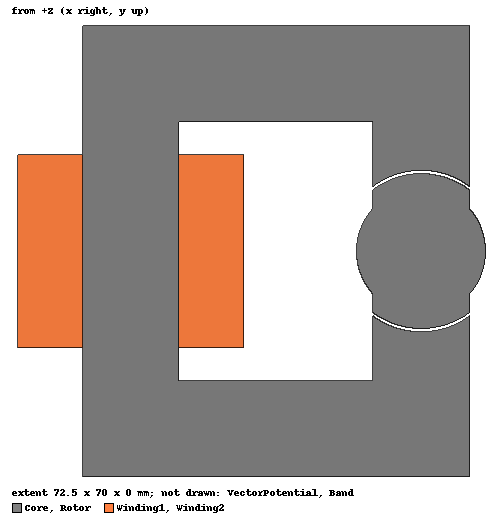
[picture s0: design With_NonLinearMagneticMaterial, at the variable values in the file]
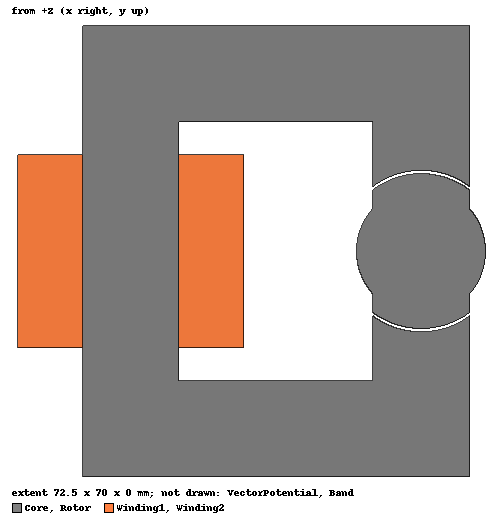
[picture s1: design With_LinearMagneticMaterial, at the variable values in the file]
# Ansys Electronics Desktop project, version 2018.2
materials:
  vacuum: permittivity=1
  copper: permeability=0.999991 conductivity=58000000
  iron: permeability=4000 conductivity=10300000
  steel_1010: permittivity=1 permeability{BType=normal HUnit=A_per_meter BUnit=tesla curve (0, 0) (238.7, 0.2003) (318.3, 0.3204) (358.1, 0.40045) (437.7, 0.50055) (477.5, 0.5606) (636.6, 0.7908) (795.8, 0.931) (1114.1, 1.1014) (1273.2, 1.2016) (1591.5, 1.302) (2228.2, 1.4028) (3183.1, 1.524) (4774.6, 1.626) (6366.2, 1.698) (7957.7, 1.73) (15915.5, 1.87) (31831, 1.99) (47746.5, 2.04) (63662, 2.07) (79577.5, 2.095) (159155, 2.2) (318310, 2.4)} conductivity=2000000 lande_g_factor=2
  steel_1010_linear: permittivity=1 permeability=910 conductivity=2000000 lande_g_factor=2

design With_NonLinearMagneticMaterial (Maxwell 2D, Transient, XY geometry, model units mm)
options: ComputeTransientInductance ModelDepth=20mm Multiplier=1
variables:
  Current = 3A
  NumberOfTurns = 250
  Teta = 0deg
  angle = 0deg
  angel = 90deg
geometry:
  Core [steel_1010] = rectangle(corner=(0mm, 0mm, 0mm), x_size=60mm, y_size=70mm)
  Rectangle2 = rectangle(corner=(15mm, 15mm, 0mm), x_size=30mm, y_size=40mm)
  Core.subtract(Rectangle2)
  Circle1 = circle(normal=Z, centre=(52.5mm, 35mm, 0mm), radius=12.5mm)
  Core.subtract(Circle1)
  Rotor [steel_1010] = circle(normal=Z, centre=(52.5mm, 35mm, 0mm), radius=10mm)
  Polyline6 = polyline(z=0mm, xy in mm: (45, 44.5) (52.5, 47) (60, 44.5) (60, 25.5) (52.5, 23) (45, 25.5) (45, 44.5), closed, covered, Arc from point 0 over 3, Arc from point 3 over 3)
  Rotor.unite(Polyline6)
  Winding1 [copper] = rectangle(corner=(15mm, 20mm, 0mm), x_size=10mm, y_size=30mm)
  Winding2 [copper] = rectangle(corner=(-10mm, 20mm, 0mm), x_size=10mm, y_size=30mm)
  VectorPotential [vacuum] = circle(normal=Z, centre=(30mm, 35mm, 0mm), radius=100mm)
  coordinate_system RelativeCS1 = origin=(52.5mm, 35mm, 0mm) x=(1mm, 0mm, 0mm) y=(0mm, 1mm, 0mm)
  Band [vacuum] = circle(normal=Z, centre=(0mm, 0mm, 0mm), radius=12.45mm) in RelativeCS1
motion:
  MotionSetup1: Band Move_Type=Rotate Coordinate_System=RelativeCS1 Axis=Z Is_Positive=true InitPos=0deg Angular_Velocity=60rpm Objects=Band
  Moving1: Moving Objects=Rotor
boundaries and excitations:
  VectorPotential1: Vector Potential Edges=VectorPotential.edge(1 of 1) Value=0
  Rectangle3: Coil Objects=Winding1 Conductor_number=NumberOfTurns Winding=Winding1 PolarityType=Positive
  Rectangle4: Coil Objects=Winding2 Conductor_number=NumberOfTurns Winding=Winding1 PolarityType=Negative
  Winding1: Winding Group Type=Current IsSolid=false Current=Current ParallelBranchesNum=1
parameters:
  Torque1: Torque Coordinate_System=Global Is_Positive=true Objects=Rotor
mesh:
  Length2: LengthBased RefineInside Objects=[Core, Rotor, Winding2, Winding1, Band] MaxLength=2mm
  initial mesh: MeshMethod=AnsoftTAU
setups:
  Setup: Transient NonlinearSolverResidual=1e-07 StopTime=980ms TimeStep=2ms SweepSetupType=LinearStep StartValue=0ns StopValue=980ms StepSize=0.002s InitialTimeStep=0.002s MinTimeStep=0.001s MaxTimeStep=0.003s TimeStepErrTolerance=0.0001
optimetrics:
  ParametricSetup1: Parametric
    sweep Teta: LIN 0deg 360deg 10deg
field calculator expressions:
  ener = energy | EnterVolume(AllObjects) | VolumeValue | Integrate
  Energy(J) = energy | EnterVolume(AllObjects) | VolumeValue | Integrate
  Eenergy = Energy(J) | 50 | /
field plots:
  B_Vector1: B over Winding1, Winding2, Core, Rotor, Band, VectorPotential on Setup : Transient at Time=0.25s
  Flux_Lines1: A over Winding1, Winding2, Rotor, Core on Setup : Transient at Time=-1
  Mag_B1: B over Rotor, Winding1, Winding2, Core on Setup : Transient at Time=-1
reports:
  Calculator Expressions Plot 1: Eenergy vs Time on Setup : Transient [Teta=all]; markers m1 at 0ms, m2 at 124ms, m3 at 250ms
  Torque Plot 1: Moving1.LoadTorque vs Moving1.Position on Setup : Transient [Teta=all]
  Torque Plot 2: Torque1.Torque vs Moving1.Position on Setup : Transient [Teta=all]; markers m1 at 0ns, m2 at 250000000ns, m3 at 126000000ns
  Winding Plot 1: L(Winding1,Winding1) vs Moving1.Position on Setup : Transient [Teta=all]; markers m1 at 0ns, m2 at 126000000ns, m3 at 250000000ns

design With_LinearMagneticMaterial (Maxwell 2D, Transient, XY geometry, model units mm)
options: ComputeTransientInductance ModelDepth=20mm Multiplier=1
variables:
  Current = 3A
  NumberOfTurns = 250
  Teta = 0deg
  angle = 0deg
  angel = 90deg
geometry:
  Core [iron] = rectangle(corner=(0mm, 0mm, 0mm), x_size=60mm, y_size=70mm)
  Rectangle2 = rectangle(corner=(15mm, 15mm, 0mm), x_size=30mm, y_size=40mm)
  Core.subtract(Rectangle2)
  Circle1 = circle(normal=Z, centre=(52.5mm, 35mm, 0mm), radius=12.5mm)
  Core.subtract(Circle1)
  Rotor [iron] = circle(normal=Z, centre=(52.5mm, 35mm, 0mm), radius=10mm)
  Polyline6 = polyline(z=0mm, xy in mm: (45, 44.5) (52.5, 47) (60, 44.5) (60, 25.5) (52.5, 23) (45, 25.5) (45, 44.5), closed, covered, Arc from point 0 over 3, Arc from point 3 over 3)
  Rotor.unite(Polyline6)
  Winding1 [copper] = rectangle(corner=(15mm, 20mm, 0mm), x_size=10mm, y_size=30mm)
  Winding2 [copper] = rectangle(corner=(-10mm, 20mm, 0mm), x_size=10mm, y_size=30mm)
  VectorPotential [vacuum] = circle(normal=Z, centre=(30mm, 35mm, 0mm), radius=100mm)
  coordinate_system RelativeCS1 = origin=(52.5mm, 35mm, 0mm) x=(1mm, 0mm, 0mm) y=(0mm, 1mm, 0mm)
  Band [vacuum] = circle(normal=Z, centre=(0mm, 0mm, 0mm), radius=12.45mm) in RelativeCS1
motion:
  MotionSetup1: Band Move_Type=Rotate Coordinate_System=RelativeCS1 Axis=Z Is_Positive=true InitPos=0deg Angular_Velocity=60rpm Objects=Band
  Moving1: Moving Objects=Rotor
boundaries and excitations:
  VectorPotential1: Vector Potential Edges=VectorPotential.edge(1 of 1) Value=0
  Rectangle3: Coil Objects=Winding1 Conductor_number=NumberOfTurns Winding=Winding1 PolarityType=Positive
  Rectangle4: Coil Objects=Winding2 Conductor_number=NumberOfTurns Winding=Winding1 PolarityType=Negative
  Winding1: Winding Group Type=Current IsSolid=false Current=Current ParallelBranchesNum=1
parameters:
  Torque1: Torque Coordinate_System=Global Is_Positive=true Objects=Rotor
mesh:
  Length2: LengthBased RefineInside Objects=[Core, Rotor, Winding2, Winding1, Band] MaxLength=2mm
  initial mesh: MeshMethod=AnsoftTAU
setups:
  Setup: Transient NonlinearSolverResidual=1e-07 StopTime=980ms TimeStep=2ms SweepSetupType=LinearStep StartValue=0ns StopValue=980ms StepSize=0.002s InitialTimeStep=0.002s MinTimeStep=0.001s MaxTimeStep=0.003s TimeStepErrTolerance=0.0001
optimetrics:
  ParametricSetup1: Parametric
    sweep Teta: LIN 0deg 360deg 10deg
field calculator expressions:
  ener = energy | EnterVolume(AllObjects) | VolumeValue | Integrate
  Energy(J) = energy | EnterVolume(AllObjects) | VolumeValue | Integrate
  Eenergy = Energy(J) | 50 | /
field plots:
  B_Vector1: B over Rotor, Core, Band, Winding2, Winding1 on Setup : Transient at Time=-1
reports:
  Calculator Expressions Plot 1: Eenergy vs Time on Setup : Transient [Teta=all]
  Torque Plot 1: Moving1.LoadTorque vs Moving1.Position on Setup : Transient [Teta=all]
  Torque Plot 2: Torque1.Torque vs Moving1.Position on Setup : Transient [Teta=all]; markers m1 at 0ns, m2 at 128000000ns, m3 at 252000000ns
  Winding Plot 1: L(Winding1,Winding1) vs Moving1.Position on Setup : Transient [Teta=all]
